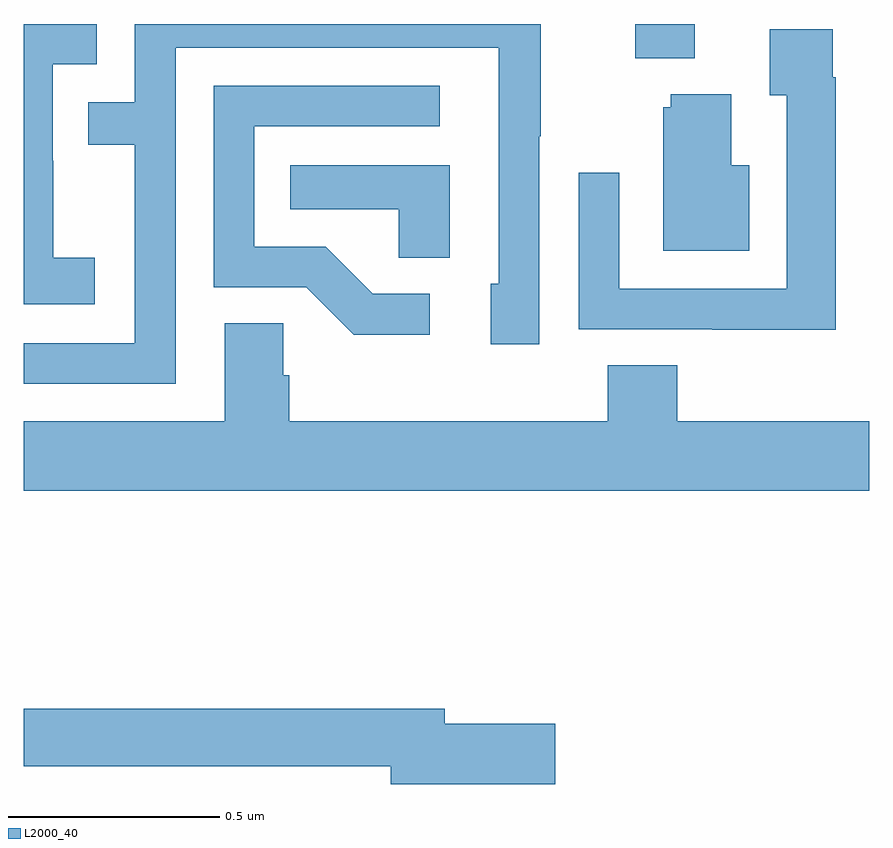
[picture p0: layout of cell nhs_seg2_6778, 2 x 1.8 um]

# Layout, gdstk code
import gdstk
lib = gdstk.Library(unit=1e-6, precision=1e-09)
def R(c, l, rs):  # rectangles x0, y0, x1, y1
    for r in rs: c.add(gdstk.rectangle(r[:2], r[2:], *l))
def P(c, l, *ps):  # polygons
    for p in ps: c.add(gdstk.Polygon(p, *l))
L2000_40 = (2000, 40)

nhs_seg2_6778 = lib.new_cell('nhs_seg2_6778')
R(nhs_seg2_6778, L2000_40, [(197.447,588.719,197.587,588.8)])
P(nhs_seg2_6778, L2000_40, [(196.359,588.744),(197.124,588.744),(197.124,588.186),(197.105,588.186),(197.105,588.042),(197.22,588.042),(197.22,588.535),(197.223,588.535),(197.223,588.8),(196.263,588.8),(196.263,588.615),(196.153,588.615),(196.153,588.514),(196.263,588.514),(196.263,588.045),(196,588.045),(196,587.949),(196.359,587.949)],
  [(196.168,588.247),(196.07,588.247),(196.07,588.476),(196.068,588.476),(196.068,588.705),(196.173,588.705),(196.173,588.8),(196,588.8),(196,588.137),(196.168,588.137)],
  [(197.921,588.674),(197.914,588.674),(197.914,588.787),(197.765,588.787),(197.765,588.631),(197.805,588.631),(197.805,588.174),(197.409,588.174),(197.409,588.448),(197.313,588.448),(197.313,588.078),(197.629,588.078),(197.629,588.077),(197.921,588.077)],
  [(196.96,588.162),(196.825,588.162),(196.714,588.273),(196.545,588.273),(196.545,588.558),(196.984,588.558),(196.984,588.654),(196.449,588.654),(196.449,588.177),(196.668,588.177),(196.781,588.065),(196.96,588.065)],
  [(197.716,588.466),(197.674,588.466),(197.674,588.634),(197.531,588.634),(197.531,588.603),(197.513,588.603),(197.513,588.263),(197.716,588.263)],
  [(197.008,588.466),(196.63,588.466),(196.63,588.362),(196.887,588.362),(196.887,588.247),(197.008,588.247)],
  [(198,587.86),(197.546,587.86),(197.546,587.993),(197.381,587.993),(197.381,587.86),(196.628,587.86),(196.628,587.969),(196.614,587.969),(196.614,588.092),(196.475,588.092),(196.475,587.86),(196,587.86),(196,587.696),(198,587.696)],
  [(197.257,587.144),(196.996,587.144),(196.996,587.18),(196,587.18),(196,587.044),(196.868,587.044),(196.868,587.002),(197.257,587.002)])

lib.write_gds('nhs_seg2_6778.gds')
